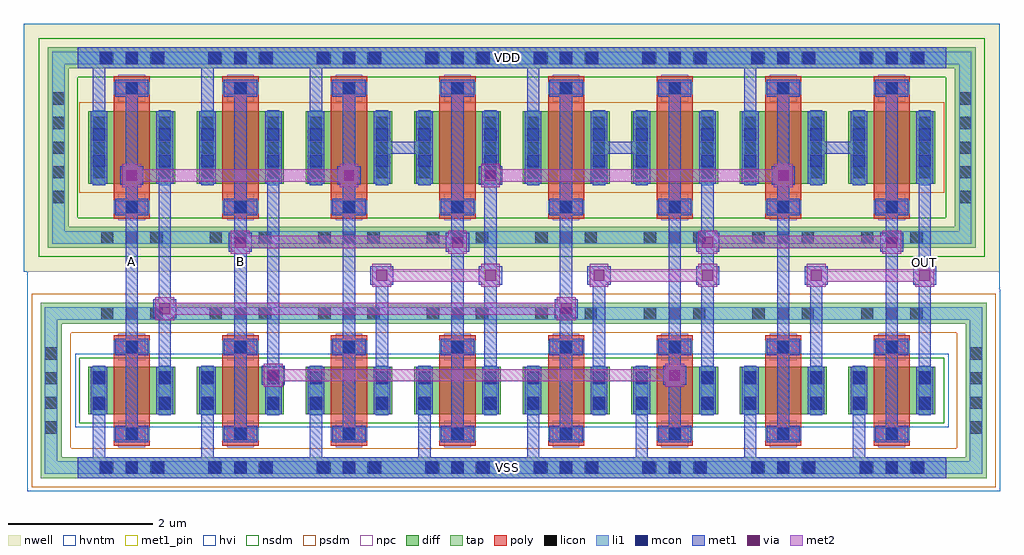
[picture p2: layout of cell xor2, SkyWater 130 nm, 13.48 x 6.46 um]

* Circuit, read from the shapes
.subckt xor2 A B OUT VDD VSS
XM1 xor2_raw_0/nor2_raw_1/A A VSS VSS sky130_fd_pr__nfet_g5v0d10v5 w=0.65 l=0.5
XM2 xor2_raw_0/nor2_raw_1/B B VSS VSS sky130_fd_pr__nfet_g5v0d10v5 w=0.65 l=0.5
XM3 xor2_raw_0/nor2_raw_0/A A VSS VSS sky130_fd_pr__nfet_g5v0d10v5 w=0.65 l=0.5
XM4 xor2_raw_0/nor2_raw_0/A B VSS VSS sky130_fd_pr__nfet_g5v0d10v5 w=0.65 l=0.5
XM5 xor2_raw_0/nor2_raw_0/B xor2_raw_0/nor2_raw_1/A VSS VSS sky130_fd_pr__nfet_g5v0d10v5 w=0.65 l=0.5
XM6 xor2_raw_0/nor2_raw_0/B xor2_raw_0/nor2_raw_1/B VSS VSS sky130_fd_pr__nfet_g5v0d10v5 w=0.65 l=0.5
XM7 OUT xor2_raw_0/nor2_raw_0/A VSS VSS sky130_fd_pr__nfet_g5v0d10v5 w=0.65 l=0.5
XM8 OUT xor2_raw_0/nor2_raw_0/B VSS VSS sky130_fd_pr__nfet_g5v0d10v5 w=0.65 l=0.5
XM9 xor2_raw_0/nor2_raw_1/A A VDD VDD sky130_fd_pr__pfet_g5v0d10v5 w=1 l=0.5
XM10 xor2_raw_0/nor2_raw_1/B B VDD VDD sky130_fd_pr__pfet_g5v0d10v5 w=1 l=0.5
XM11 n1 A VDD VDD sky130_fd_pr__pfet_g5v0d10v5 w=1 l=0.5
XM12 xor2_raw_0/nor2_raw_0/A B n1 VDD sky130_fd_pr__pfet_g5v0d10v5 w=1 l=0.5
XM13 n2 xor2_raw_0/nor2_raw_1/A VDD VDD sky130_fd_pr__pfet_g5v0d10v5 w=1 l=0.5
XM14 xor2_raw_0/nor2_raw_0/B xor2_raw_0/nor2_raw_1/B n2 VDD sky130_fd_pr__pfet_g5v0d10v5 w=1 l=0.5
XM15 n3 xor2_raw_0/nor2_raw_0/A VDD VDD sky130_fd_pr__pfet_g5v0d10v5 w=1 l=0.5
XM16 OUT xor2_raw_0/nor2_raw_0/B n3 VDD sky130_fd_pr__pfet_g5v0d10v5 w=1 l=0.5
.ends

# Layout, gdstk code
import gdstk
lib = gdstk.Library(unit=1e-6, precision=1e-09)
def R(c, l, rs):  # rectangles x0, y0, x1, y1
    for r in rs: c.add(gdstk.rectangle(r[:2], r[2:], *l))
def A(c, l, x, y, w, h, nx, ny, dx, dy):  # array of equal rectangles
    R(c, l, [(x+i*dx, y+j*dy, x+i*dx+w, y+j*dy+h) for i in range(nx) for j in range(ny)])
nwell = (64, 20)
diff = (65, 20)
tap = (65, 44)
poly = (66, 20)
licon = (66, 44)
li1 = (67, 20)
mcon = (67, 44)
met1_pin = (68, 16)
met1 = (68, 20)
via = (68, 44)
met2 = (69, 20)
hvi = (75, 20)
nsdm = (93, 44)
psdm = (94, 20)
npc = (95, 20)
hvntm = (125, 20)

nor2_raw = lib.new_cell('nor2_raw')
R(nor2_raw, met1_pin, [(0.44,0.18,3.32,0.47), (1.105,0.675,1.275,5.68), (2.605,0.675,2.775,5.68), (3.06,1.045,3.23,5.265), (0.44,5.84,3.32,6.13)])
R(nor2_raw, met1, [(0.44,0.18,3.32,0.47), (0.65,0.47,0.82,1.735), (2.15,0.47,2.32,1.735), (1.105,0.675,1.275,5.68), (2.605,0.675,2.775,5.68), (1.56,1.045,1.73,2.85), (3.06,1.045,3.23,2.85), (1.485,2.85,1.805,3.11), (2.985,2.85,3.305,3.11), (3.06,3.11,3.23,5.265), (0.65,4.225,0.82,5.84), (1.56,4.225,1.73,4.66), (2.15,4.225,2.32,4.66), (1.56,4.66,2.32,4.83), (1.56,4.83,1.73,5.265), (2.15,4.83,2.32,5.265), (0.44,5.84,3.32,6.13)])
R(nor2_raw, via, [(1.57,2.905,1.72,3.055), (3.07,2.905,3.22,3.055)])
R(nor2_raw, met2, [(1.515,2.82,1.775,2.895), (3.015,2.82,3.275,2.895), (1.515,2.895,3.275,3.065), (1.515,3.065,1.775,3.14), (3.015,3.065,3.275,3.14)])
nor2_raw.add(gdstk.Label('A', (1.19,3.177), layer=68, texttype=5))
nor2_raw.add(gdstk.Label('B', (2.69,3.177), layer=68, texttype=5))
nor2_raw.add(gdstk.Label('OUT', (3.145,3.155), layer=68, texttype=5))
nor2_raw.add(gdstk.Label('VDD', (1.88,5.985), layer=68, texttype=5))
nor2_raw.add(gdstk.Label('VSS', (1.88,0.325), layer=68, texttype=5))

inverter_raw = lib.new_cell('inverter_raw')
R(inverter_raw, met1_pin, [(0.44,0.18,1.94,0.47), (1.105,0.705,1.275,5.65), (1.56,1.045,1.73,5.265), (0.44,5.84,1.94,6.13)])
R(inverter_raw, met1, [(0.44,0.18,1.94,0.47), (0.65,0.47,0.82,1.735), (1.105,0.705,1.275,5.65), (1.56,1.045,1.73,5.265), (0.65,4.225,0.82,5.84), (0.44,5.84,1.94,6.13)])
inverter_raw.add(gdstk.Label('IN', (1.19,3.177), layer=68, texttype=5))
inverter_raw.add(gdstk.Label('OUT', (1.645,3.155), layer=68, texttype=5))
inverter_raw.add(gdstk.Label('VDD', (1.19,5.985), layer=68, texttype=5))
inverter_raw.add(gdstk.Label('VSS', (1.19,0.325), layer=68, texttype=5))

xor2_raw = lib.new_cell('xor2_raw')
R(xor2_raw, met1_pin, [(0.74,0.18,12.62,0.47), (1.405,0.705,1.575,5.65), (2.905,0.705,3.075,5.65), (12.36,1.045,12.53,5.265), (0.74,5.84,12.62,6.13)])
R(xor2_raw, met1, [(0.74,0.18,12.62,0.47), (1.405,0.705,1.575,4.23), (2.905,0.705,3.075,3.31), (12.36,1.045,12.53,5.265), (3.285,1.47,3.605,1.73), (8.83,1.47,9.15,1.73), (1.785,2.39,2.105,2.65), (7.33,2.39,7.65,2.65), (2.83,3.31,3.15,3.57), (5.83,3.31,6.15,3.57), (9.285,3.31,9.605,3.57), (11.83,3.31,12.15,3.57), (2.905,3.57,3.075,5.65), (1.33,4.23,1.65,4.49), (4.33,4.23,4.65,4.49), (6.285,4.23,6.605,4.49), (10.33,4.23,10.65,4.49), (1.405,4.49,1.575,5.65), (0.74,5.84,12.62,6.13)])
R(xor2_raw, via, [(3.37,1.525,3.52,1.675), (8.915,1.525,9.065,1.675), (1.87,2.445,2.02,2.595), (7.415,2.445,7.565,2.595), (2.915,3.365,3.065,3.515), (5.915,3.365,6.065,3.515), (9.37,3.365,9.52,3.515), (11.915,3.365,12.065,3.515), (1.415,4.285,1.565,4.435), (4.415,4.285,4.565,4.435), (6.37,4.285,6.52,4.435), (10.415,4.285,10.565,4.435)])
R(xor2_raw, met2, [(3.315,1.44,3.575,1.515), (8.86,1.44,9.12,1.515), (3.315,1.515,9.12,1.685), (3.315,1.685,3.575,1.76), (8.86,1.685,9.12,1.76), (1.815,2.36,2.075,2.435), (7.36,2.36,7.62,2.435), (1.815,2.435,7.62,2.605), (1.815,2.605,2.075,2.68), (7.36,2.605,7.62,2.68), (2.86,3.28,3.12,3.355), (5.86,3.28,6.12,3.355), (9.315,3.28,9.575,3.355), (11.86,3.28,12.12,3.355), (2.86,3.355,6.12,3.525), (9.315,3.355,12.12,3.525), (2.86,3.525,3.12,3.6), (5.86,3.525,6.12,3.6), (9.315,3.525,9.575,3.6), (11.86,3.525,12.12,3.6), (1.36,4.2,1.62,4.275), (4.36,4.2,4.62,4.275), (6.315,4.2,6.575,4.275), (10.36,4.2,10.62,4.275), (1.36,4.275,4.62,4.445), (6.315,4.275,10.62,4.445), (1.36,4.445,1.62,4.52), (4.36,4.445,4.62,4.52), (6.315,4.445,6.575,4.52), (10.36,4.445,10.62,4.52)])
xor2_raw.add(gdstk.Reference(nor2_raw, (9.3,0)))
xor2_raw.add(gdstk.Reference(nor2_raw, (6.3,0)))
xor2_raw.add(gdstk.Reference(nor2_raw, (3.3,0)))
xor2_raw.add(gdstk.Reference(inverter_raw, (1.8,0)))
xor2_raw.add(gdstk.Reference(inverter_raw, (0.3,0)))
xor2_raw.add(gdstk.Label('VSS', (6.68,0.325), layer=68, texttype=5))
xor2_raw.add(gdstk.Label('VDD', (6.68,5.985), layer=68, texttype=5))
xor2_raw.add(gdstk.Label('A', (1.49,3.177), layer=68, texttype=5))
xor2_raw.add(gdstk.Label('B', (2.99,3.177), layer=68, texttype=5))
xor2_raw.add(gdstk.Label('OUT', (12.445,3.155), layer=68, texttype=5))

transistor_pair_bus_8 = lib.new_cell('transistor_pair_bus_8')
R(transistor_pair_bus_8, nwell, [(-0.3,3.03,13.18,6.46)])
A(transistor_pair_bus_8, diff, 0.59, 1.065, 1.2, 0.65, 8, 1, 1.5, 0)
A(transistor_pair_bus_8, diff, 0.59, 4.245, 1.2, 1, 8, 1, 1.5, 0)
R(transistor_pair_bus_8, tap, [(-0.07,0.18,13,0.47), (-0.07,0.47,0.22,2.31), (12.71,0.47,13,2.31), (-0.07,2.31,13,2.6), (0.03,3.36,12.85,3.65), (0.03,3.65,0.32,5.84), (12.56,3.65,12.85,5.84), (0.03,5.84,12.85,6.13)])
A(transistor_pair_bus_8, poly, 0.94, 0.625, 0.5, 1.53, 8, 1, 1.5, 0)
A(transistor_pair_bus_8, poly, 0.94, 3.76, 0.5, 1.97, 8, 1, 1.5, 0)
A(transistor_pair_bus_8, licon, 0.765, 0.24, 0.17, 0.17, 3, 2, 0.34, 2.13)
A(transistor_pair_bus_8, licon, 2.265, 0.24, 0.17, 0.17, 3, 2, 0.34, 2.13)
A(transistor_pair_bus_8, licon, 3.765, 0.24, 0.17, 0.17, 3, 2, 0.34, 2.13)
A(transistor_pair_bus_8, licon, 5.265, 0.24, 0.17, 0.17, 3, 2, 0.34, 2.13)
A(transistor_pair_bus_8, licon, 6.765, 0.24, 0.17, 0.17, 3, 2, 0.34, 2.13)
A(transistor_pair_bus_8, licon, 8.265, 0.24, 0.17, 0.17, 3, 2, 0.34, 2.13)
A(transistor_pair_bus_8, licon, 9.765, 0.24, 0.17, 0.17, 3, 2, 0.34, 2.13)
A(transistor_pair_bus_8, licon, 11.265, 0.24, 0.17, 0.17, 3, 2, 0.34, 2.13)
A(transistor_pair_bus_8, licon, 1.105, 0.705, 0.17, 0.17, 8, 2, 1.5, 1.2)
A(transistor_pair_bus_8, licon, -0.01, 0.795, 0.17, 0.17, 1, 4, 0, 0.34)
A(transistor_pair_bus_8, licon, 12.77, 0.795, 0.17, 0.17, 1, 4, 0, 0.34)
A(transistor_pair_bus_8, licon, 0.765, 3.42, 0.17, 0.17, 3, 2, 0.34, 2.48)
A(transistor_pair_bus_8, licon, 2.265, 3.42, 0.17, 0.17, 3, 2, 0.34, 2.48)
A(transistor_pair_bus_8, licon, 3.765, 3.42, 0.17, 0.17, 3, 2, 0.34, 2.48)
A(transistor_pair_bus_8, licon, 5.265, 3.42, 0.17, 0.17, 3, 2, 0.34, 2.48)
A(transistor_pair_bus_8, licon, 6.765, 3.42, 0.17, 0.17, 3, 2, 0.34, 2.48)
A(transistor_pair_bus_8, licon, 8.265, 3.42, 0.17, 0.17, 3, 2, 0.34, 2.48)
A(transistor_pair_bus_8, licon, 9.765, 3.42, 0.17, 0.17, 3, 2, 0.34, 2.48)
A(transistor_pair_bus_8, licon, 11.265, 3.42, 0.17, 0.17, 3, 2, 0.34, 2.48)
A(transistor_pair_bus_8, licon, 1.105, 3.84, 0.17, 0.17, 8, 2, 1.5, 1.64)
A(transistor_pair_bus_8, licon, 0.09, 3.98, 0.17, 0.17, 1, 5, 0, 0.34)
A(transistor_pair_bus_8, licon, 12.62, 3.98, 0.17, 0.17, 1, 5, 0, 0.34)
A(transistor_pair_bus_8, licon, 0.65, 4.32, 0.17, 0.17, 1, 3, 0, 0.34)
A(transistor_pair_bus_8, licon, 1.56, 4.32, 0.17, 0.17, 1, 3, 0, 0.34)
A(transistor_pair_bus_8, licon, 2.15, 4.32, 0.17, 0.17, 1, 3, 0, 0.34)
A(transistor_pair_bus_8, licon, 3.06, 4.32, 0.17, 0.17, 1, 3, 0, 0.34)
A(transistor_pair_bus_8, licon, 3.65, 4.32, 0.17, 0.17, 1, 3, 0, 0.34)
A(transistor_pair_bus_8, licon, 4.56, 4.32, 0.17, 0.17, 1, 3, 0, 0.34)
A(transistor_pair_bus_8, licon, 5.15, 4.32, 0.17, 0.17, 1, 3, 0, 0.34)
A(transistor_pair_bus_8, licon, 6.06, 4.32, 0.17, 0.17, 1, 3, 0, 0.34)
A(transistor_pair_bus_8, licon, 6.65, 4.32, 0.17, 0.17, 1, 3, 0, 0.34)
A(transistor_pair_bus_8, licon, 7.56, 4.32, 0.17, 0.17, 1, 3, 0, 0.34)
A(transistor_pair_bus_8, licon, 8.15, 4.32, 0.17, 0.17, 1, 3, 0, 0.34)
A(transistor_pair_bus_8, licon, 9.06, 4.32, 0.17, 0.17, 1, 3, 0, 0.34)
A(transistor_pair_bus_8, licon, 9.65, 4.32, 0.17, 0.17, 1, 3, 0, 0.34)
A(transistor_pair_bus_8, licon, 10.56, 4.32, 0.17, 0.17, 1, 3, 0, 0.34)
A(transistor_pair_bus_8, licon, 11.15, 4.32, 0.17, 0.17, 1, 3, 0, 0.34)
A(transistor_pair_bus_8, licon, 12.06, 4.32, 0.17, 0.17, 1, 3, 0, 0.34)
R(transistor_pair_bus_8, licon, [(0.65,1.135,0.82,1.305), (1.56,1.135,1.73,1.305), (2.15,1.135,2.32,1.305), (3.06,1.135,3.23,1.305), (3.65,1.135,3.82,1.305), (4.56,1.135,4.73,1.305), (5.15,1.135,5.32,1.305), (6.06,1.135,6.23,1.305), (6.65,1.135,6.82,1.305), (7.56,1.135,7.73,1.305), (8.15,1.135,8.32,1.305), (9.06,1.135,9.23,1.305), (9.65,1.135,9.82,1.305), (10.56,1.135,10.73,1.305), (11.15,1.135,11.32,1.305), (12.06,1.135,12.23,1.305), (0.65,1.475,0.82,1.645), (1.56,1.475,1.73,1.645), (2.15,1.475,2.32,1.645), (3.06,1.475,3.23,1.645), (3.65,1.475,3.82,1.645), (4.56,1.475,4.73,1.645), (5.15,1.475,5.32,1.645), (6.06,1.475,6.23,1.645), (6.65,1.475,6.82,1.645), (7.56,1.475,7.73,1.645), (8.15,1.475,8.32,1.645), (9.06,1.475,9.23,1.645), (9.65,1.475,9.82,1.645), (10.56,1.475,10.73,1.645), (11.15,1.475,11.32,1.645), (12.06,1.475,12.23,1.645)])
A(transistor_pair_bus_8, li1, 0.94, 0.705, 0.5, 0.17, 8, 2, 1.5, 1.2)
A(transistor_pair_bus_8, li1, 0.94, 3.84, 0.5, 0.17, 8, 2, 1.5, 1.64)
R(transistor_pair_bus_8, li1, [(-0.01,0.24,12.94,0.41), (-0.01,0.41,0.16,2.37), (12.77,0.41,12.94,2.37), (0.65,1.045,0.82,1.735), (1.56,1.045,1.73,1.735), (2.15,1.045,2.32,1.735), (3.06,1.045,3.23,1.735), (3.65,1.045,3.82,1.735), (4.56,1.045,4.73,1.735), (5.15,1.045,5.32,1.735), (6.06,1.045,6.23,1.735), (6.65,1.045,6.82,1.735), (7.56,1.045,7.73,1.735), (8.15,1.045,8.32,1.735), (9.06,1.045,9.23,1.735), (9.65,1.045,9.82,1.735), (10.56,1.045,10.73,1.735), (11.15,1.045,11.32,1.735), (12.06,1.045,12.23,1.735), (-0.01,2.37,12.94,2.54), (0.09,3.42,12.79,3.59), (0.09,3.59,0.26,5.9), (12.62,3.59,12.79,5.9), (0.65,4.225,0.82,5.265), (1.56,4.225,1.73,5.265), (2.15,4.225,2.32,5.265), (3.06,4.225,3.23,5.265), (3.65,4.225,3.82,5.265), (4.56,4.225,4.73,5.265), (5.15,4.225,5.32,5.265), (6.06,4.225,6.23,5.265), (6.65,4.225,6.82,5.265), (7.56,4.225,7.73,5.265), (8.15,4.225,8.32,5.265), (9.06,4.225,9.23,5.265), (9.65,4.225,9.82,5.265), (10.56,4.225,10.73,5.265), (11.15,4.225,11.32,5.265), (12.06,4.225,12.23,5.265), (0.09,5.9,12.79,6.07)])
A(transistor_pair_bus_8, mcon, 0.745, 0.24, 0.17, 0.17, 3, 2, 0.36, 5.66)
A(transistor_pair_bus_8, mcon, 2.245, 0.24, 0.17, 0.17, 3, 2, 0.36, 5.66)
A(transistor_pair_bus_8, mcon, 3.745, 0.24, 0.17, 0.17, 3, 2, 0.36, 5.66)
A(transistor_pair_bus_8, mcon, 5.245, 0.24, 0.17, 0.17, 3, 2, 0.36, 5.66)
A(transistor_pair_bus_8, mcon, 6.745, 0.24, 0.17, 0.17, 3, 2, 0.36, 5.66)
A(transistor_pair_bus_8, mcon, 8.245, 0.24, 0.17, 0.17, 3, 2, 0.36, 5.66)
A(transistor_pair_bus_8, mcon, 9.745, 0.24, 0.17, 0.17, 3, 2, 0.36, 5.66)
A(transistor_pair_bus_8, mcon, 11.245, 0.24, 0.17, 0.17, 3, 2, 0.36, 5.66)
A(transistor_pair_bus_8, mcon, 1.105, 0.705, 0.17, 0.17, 8, 2, 1.5, 1.2)
A(transistor_pair_bus_8, mcon, 1.105, 3.84, 0.17, 0.17, 8, 2, 1.5, 1.64)
R(transistor_pair_bus_8, mcon, [(0.65,1.125,0.82,1.295), (1.56,1.125,1.73,1.295), (2.15,1.125,2.32,1.295), (3.06,1.125,3.23,1.295), (3.65,1.125,3.82,1.295), (4.56,1.125,4.73,1.295), (5.15,1.125,5.32,1.295), (6.06,1.125,6.23,1.295), (6.65,1.125,6.82,1.295), (7.56,1.125,7.73,1.295), (8.15,1.125,8.32,1.295), (9.06,1.125,9.23,1.295), (9.65,1.125,9.82,1.295), (10.56,1.125,10.73,1.295), (11.15,1.125,11.32,1.295), (12.06,1.125,12.23,1.295), (0.65,1.485,0.82,1.655), (1.56,1.485,1.73,1.655), (2.15,1.485,2.32,1.655), (3.06,1.485,3.23,1.655), (3.65,1.485,3.82,1.655), (4.56,1.485,4.73,1.655), (5.15,1.485,5.32,1.655), (6.06,1.485,6.23,1.655), (6.65,1.485,6.82,1.655), (7.56,1.485,7.73,1.655), (8.15,1.485,8.32,1.655), (9.06,1.485,9.23,1.655), (9.65,1.485,9.82,1.655), (10.56,1.485,10.73,1.655), (11.15,1.485,11.32,1.655), (12.06,1.485,12.23,1.655), (0.65,4.48,0.82,4.65), (1.56,4.48,1.73,4.65), (2.15,4.48,2.32,4.65), (3.06,4.48,3.23,4.65), (3.65,4.48,3.82,4.65), (4.56,4.48,4.73,4.65), (5.15,4.48,5.32,4.65), (6.06,4.48,6.23,4.65), (6.65,4.48,6.82,4.65), (7.56,4.48,7.73,4.65), (8.15,4.48,8.32,4.65), (9.06,4.48,9.23,4.65), (9.65,4.48,9.82,4.65), (10.56,4.48,10.73,4.65), (11.15,4.48,11.32,4.65), (12.06,4.48,12.23,4.65), (0.65,4.84,0.82,5.01), (1.56,4.84,1.73,5.01), (2.15,4.84,2.32,5.01), (3.06,4.84,3.23,5.01), (3.65,4.84,3.82,5.01), (4.56,4.84,4.73,5.01), (5.15,4.84,5.32,5.01), (6.06,4.84,6.23,5.01), (6.65,4.84,6.82,5.01), (7.56,4.84,7.73,5.01), (8.15,4.84,8.32,5.01), (9.06,4.84,9.23,5.01), (9.65,4.84,9.82,5.01), (10.56,4.84,10.73,5.01), (11.15,4.84,11.32,5.01), (12.06,4.84,12.23,5.01)])
R(transistor_pair_bus_8, met1_pin, [(0.44,0.18,12.44,0.47), (0.44,5.84,12.44,6.13)])
A(transistor_pair_bus_8, met1, 0.96, 0.675, 0.46, 0.23, 8, 2, 1.5, 1.2)
A(transistor_pair_bus_8, met1, 1.105, 0.905, 0.17, 0.97, 8, 1, 1.5, 0)
A(transistor_pair_bus_8, met1, 0.96, 3.81, 0.46, 0.23, 8, 2, 1.5, 1.64)
A(transistor_pair_bus_8, met1, 1.105, 4.04, 0.17, 1.41, 8, 1, 1.5, 0)
R(transistor_pair_bus_8, met1, [(0.44,0.18,12.44,0.47), (0.65,1.045,0.82,1.065), (1.56,1.045,1.73,1.065), (2.15,1.045,2.32,1.065), (3.06,1.045,3.23,1.065), (3.65,1.045,3.82,1.065), (4.56,1.045,4.73,1.065), (5.15,1.045,5.32,1.065), (6.06,1.045,6.23,1.065), (6.65,1.045,6.82,1.065), (7.56,1.045,7.73,1.065), (8.15,1.045,8.32,1.065), (9.06,1.045,9.23,1.065), (9.65,1.045,9.82,1.065), (10.56,1.045,10.73,1.065), (11.15,1.045,11.32,1.065), (12.06,1.045,12.23,1.065), (0.62,1.065,0.85,1.715), (1.53,1.065,1.76,1.715), (2.12,1.065,2.35,1.715), (3.03,1.065,3.26,1.715), (3.62,1.065,3.85,1.715), (4.53,1.065,4.76,1.715), (5.12,1.065,5.35,1.715), (6.03,1.065,6.26,1.715), (6.62,1.065,6.85,1.715), (7.53,1.065,7.76,1.715), (8.12,1.065,8.35,1.715), (9.03,1.065,9.26,1.715), (9.62,1.065,9.85,1.715), (10.53,1.065,10.76,1.715), (11.12,1.065,11.35,1.715), (12.03,1.065,12.26,1.715), (0.65,1.715,0.82,1.735), (1.56,1.715,1.73,1.735), (2.15,1.715,2.32,1.735), (3.06,1.715,3.23,1.735), (3.65,1.715,3.82,1.735), (4.56,1.715,4.73,1.735), (5.15,1.715,5.32,1.735), (6.06,1.715,6.23,1.735), (6.65,1.715,6.82,1.735), (7.56,1.715,7.73,1.735), (8.15,1.715,8.32,1.735), (9.06,1.715,9.23,1.735), (9.65,1.715,9.82,1.735), (10.56,1.715,10.73,1.735), (11.15,1.715,11.32,1.735), (12.06,1.715,12.23,1.735), (0.65,4.225,0.82,4.245), (1.56,4.225,1.73,4.245), (2.15,4.225,2.32,4.245), (3.06,4.225,3.23,4.245), (3.65,4.225,3.82,4.245), (4.56,4.225,4.73,4.245), (5.15,4.225,5.32,4.245), (6.06,4.225,6.23,4.245), (6.65,4.225,6.82,4.245), (7.56,4.225,7.73,4.245), (8.15,4.225,8.32,4.245), (9.06,4.225,9.23,4.245), (9.65,4.225,9.82,4.245), (10.56,4.225,10.73,4.245), (11.15,4.225,11.32,4.245), (12.06,4.225,12.23,4.245), (0.62,4.245,0.85,5.245), (1.53,4.245,1.76,5.245), (2.12,4.245,2.35,5.245), (3.03,4.245,3.26,5.245), (3.62,4.245,3.85,5.245), (4.53,4.245,4.76,5.245), (5.12,4.245,5.35,5.245), (6.03,4.245,6.26,5.245), (6.62,4.245,6.85,5.245), (7.53,4.245,7.76,5.245), (8.12,4.245,8.35,5.245), (9.03,4.245,9.26,5.245), (9.62,4.245,9.85,5.245), (10.53,4.245,10.76,5.245), (11.12,4.245,11.35,5.245), (12.03,4.245,12.26,5.245), (0.65,5.245,0.82,5.265), (1.56,5.245,1.73,5.265), (2.15,5.245,2.32,5.265), (3.06,5.245,3.23,5.265), (3.65,5.245,3.82,5.265), (4.56,5.245,4.73,5.265), (5.15,5.245,5.32,5.265), (6.06,5.245,6.23,5.265), (6.65,5.245,6.82,5.265), (7.56,5.245,7.73,5.265), (8.15,5.245,8.32,5.265), (9.06,5.245,9.23,5.265), (9.65,5.245,9.82,5.265), (10.56,5.245,10.73,5.265), (11.15,5.245,11.32,5.265), (12.06,5.245,12.23,5.265), (0.44,5.84,12.44,6.13)])
R(transistor_pair_bus_8, hvi, [(-0.255,-0.005,13.185,2.785), (-0.255,2.785,13.18,3.03), (-0.3,3.03,13.18,6.46)])
R(transistor_pair_bus_8, nsdm, [(0.465,0.94,12.415,1.84), (-0.095,3.235,12.975,3.775), (-0.095,3.775,0.445,5.715), (12.435,3.775,12.975,5.715), (-0.095,5.715,12.975,6.255)])
R(transistor_pair_bus_8, psdm, [(-0.195,0.055,13.125,0.595), (-0.195,0.595,0.345,2.185), (12.585,0.595,13.125,2.185), (-0.195,2.185,13.125,2.725), (0.465,4.12,12.415,5.37)])
A(transistor_pair_bus_8, npc, 1.005, 0.605, 0.37, 0.37, 8, 2, 1.5, 1.2)
A(transistor_pair_bus_8, npc, 1.005, 3.74, 0.37, 0.37, 8, 2, 1.5, 1.64)
R(transistor_pair_bus_8, hvntm, [(0.405,0.88,12.475,1.9)])
transistor_pair_bus_8.add(gdstk.Label('VDD', (6.44,5.985), layer=68, texttype=5))
transistor_pair_bus_8.add(gdstk.Label('VSS', (6.44,0.325), layer=68, texttype=5))

xor2 = lib.new_cell('xor2')
R(xor2, met1_pin, [(0.74,0.18,12.62,0.47), (1.405,0.705,1.575,5.65), (2.905,0.705,3.075,5.65), (12.36,1.045,12.53,5.265), (0.74,5.84,12.62,6.13)])
R(xor2, met1, [(0.74,0.18,12.62,0.47), (1.405,0.705,1.575,5.65), (2.905,0.705,3.075,5.65), (12.36,1.045,12.53,5.265), (0.74,5.84,12.62,6.13)])
xor2.add(gdstk.Reference(xor2_raw, (0,0)))
xor2.add(gdstk.Reference(transistor_pair_bus_8, (0.3,0)))
xor2.add(gdstk.Label('VSS', (6.68,0.325), layer=68, texttype=5))
xor2.add(gdstk.Label('VDD', (6.68,5.985), layer=68, texttype=5))
xor2.add(gdstk.Label('A', (1.49,3.177), layer=68, texttype=5))
xor2.add(gdstk.Label('B', (2.99,3.177), layer=68, texttype=5))
xor2.add(gdstk.Label('OUT', (12.445,3.155), layer=68, texttype=5))

lib.write_gds('xor2.gds')
